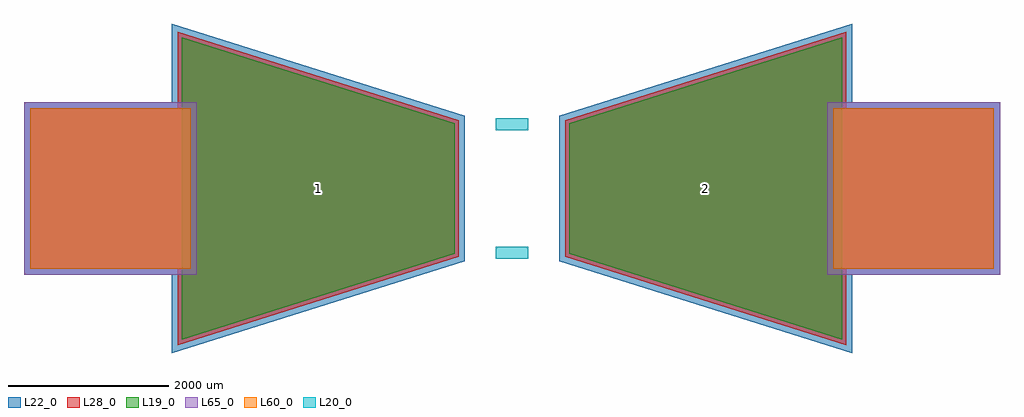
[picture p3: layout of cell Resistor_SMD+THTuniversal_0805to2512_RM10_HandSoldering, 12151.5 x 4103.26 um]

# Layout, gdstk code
import gdstk
lib = gdstk.Library(unit=1e-6, precision=1e-09)
def R(c, l, rs):  # rectangles x0, y0, x1, y1
    for r in rs: c.add(gdstk.rectangle(r[:2], r[2:], *l))
def P(c, l, *ps):  # polygons
    for p in ps: c.add(gdstk.Polygon(p, *l))
L19_0 = (19, 0)
L20_0 = (20, 0)
L22_0 = (22, 0)
L28_0 = (28, 0)
L60_0 = (60, 0)
L65_0 = (65, 0)

resistor_smd_thtuniversa = lib.new_cell('Resistor_SMD+THTuniversal_0805to2512_RM10_HandSoldering')
P(resistor_smd_thtuniversa, L19_0, [(712.94,-812.93),(712.94,812.93),(4113.06,1881.328),(4113.06,-1881.328)],
  [(-4113.06,-1881.328),(-4113.06,1881.328),(-712.94,812.93),(-712.94,-812.93)])
R(resistor_smd_thtuniversa, L22_0, [(-6075.75,-1074.49,-3926.77,1074.49), (3926.77,-1074.49,6075.75,1074.49)])
P(resistor_smd_thtuniversa, L22_0, [(587.94,-904.679),(587.94,904.679),(4238.06,2051.632),(4238.06,-2051.632)],
  [(-4238.06,-2051.632),(-4238.06,2051.632),(-587.94,904.679),(-587.94,-904.679)])
R(resistor_smd_thtuniversa, L28_0, [(-6000.75,-999.49,-4001.77,999.49), (4001.77,-999.49,6000.75,999.49)])
P(resistor_smd_thtuniversa, L28_0, [(662.94,-849.63),(662.94,849.63),(4163.06,1949.45),(4163.06,-1949.45)],
  [(-4163.06,-1949.45),(-4163.06,1949.45),(-662.94,849.63),(-662.94,-849.63)])
R(resistor_smd_thtuniversa, L60_0, [(-6000.75,-999.49,-4001.77,999.49), (4001.77,-999.49,6000.75,999.49)])
R(resistor_smd_thtuniversa, L65_0, [(-6075.75,-1074.49,-3926.77,1074.49), (3926.77,-1074.49,6075.75,1074.49)])
resistor_smd_thtuniversa.add(gdstk.FlexPath([(-200.66,800.1),(200.66,800.1)], 149.998, ends="flush", simple_path=True, layer=20, datatype=0))  # L20_0
resistor_smd_thtuniversa.add(gdstk.FlexPath([(-99.06,800.1),(-200.66,800.1)], 149.998, ends="flush", simple_path=True, layer=20, datatype=0))  # L20_0
resistor_smd_thtuniversa.add(gdstk.FlexPath([(0,-800.1),(-200.66,-800.1)], 149.998, ends="flush", simple_path=True, layer=20, datatype=0))  # L20_0
resistor_smd_thtuniversa.add(gdstk.FlexPath([(0,-800.1),(200.66,-800.1)], 149.998, ends="flush", simple_path=True, layer=20, datatype=0))  # L20_0
resistor_smd_thtuniversa.add(gdstk.Label('2', (2413,0), layer=28, texttype=0))
resistor_smd_thtuniversa.add(gdstk.Label('1', (-2413,0), layer=28, texttype=0))
resistor_smd_thtuniversa.add(gdstk.Label('type', (-398.78,-4201.16), layer=9, texttype=0))
resistor_smd_thtuniversa.add(gdstk.Label('devicename', (99.06,3098.8), layer=9, texttype=0))

lib.write_gds('Resistor_SMD_THTuniversal_0805to2512_RM10_HandSoldering.gds')
